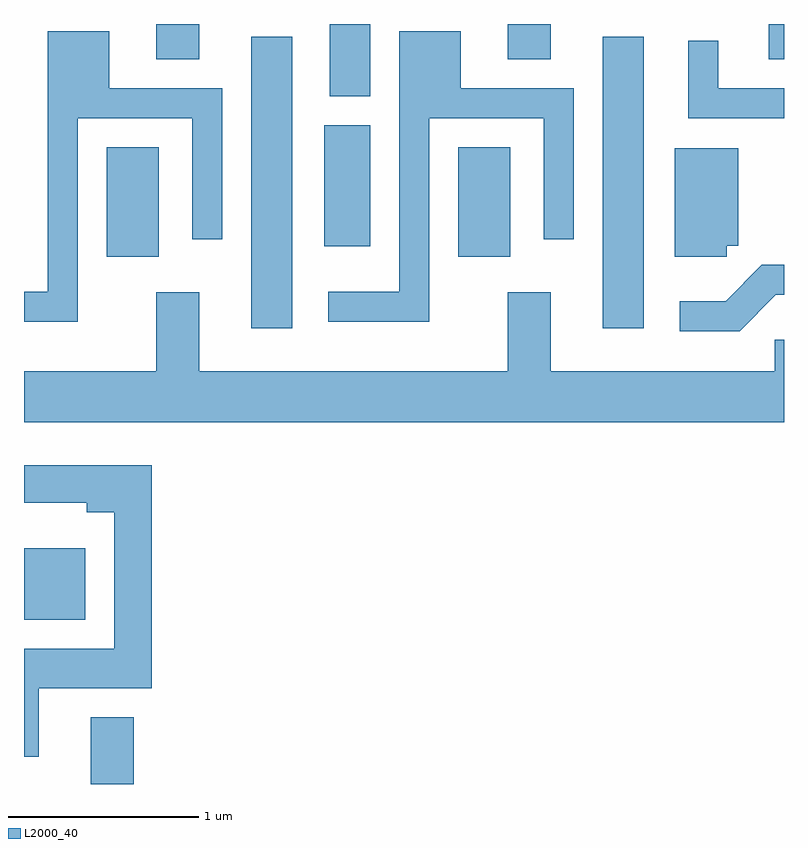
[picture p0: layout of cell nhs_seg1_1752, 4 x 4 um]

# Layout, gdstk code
import gdstk
lib = gdstk.Library(unit=1e-6, precision=1e-09)
def R(c, l, rs):  # rectangles x0, y0, x1, y1
    for r in rs: c.add(gdstk.rectangle(r[:2], r[2:], *l))
def P(c, l, *ps):  # polygons
    for p in ps: c.add(gdstk.Polygon(p, *l))
L2000_40 = (2000, 40)

nhs_seg1_1752 = lib.new_cell('nhs_seg1_1752')
R(nhs_seg1_1752, L2000_40, [(239.961,857.712,240.189,858.064), (239.611,858.576,239.934,858.954), (240.806,860.111,241.024,861.644), (242.656,860.111,242.874,861.644), (240.046,860.486,240.319,861.064), (241.896,860.486,242.169,861.064), (241.191,860.541,241.434,861.179), (241.221,861.331,241.434,861.712), (240.306,861.526,240.534,861.712), (242.156,861.526,242.384,861.712), (243.531,861.526,243.611,861.712)])
P(nhs_seg1_1752, L2000_40, [(241.744,861.216),(242.346,861.216),(242.346,860.578),(242.504,860.578),(242.504,861.374),(241.909,861.374),(241.909,861.674),(241.586,861.674),(241.586,860.304),(241.213,860.304),(241.213,860.146),(241.744,860.146)],
  [(239.894,861.216),(240.496,861.216),(240.496,860.578),(240.654,860.578),(240.654,861.374),(240.059,861.374),(240.059,861.674),(239.736,861.674),(239.736,860.304),(239.611,860.304),(239.611,860.146),(239.894,860.146)],
  [(243.611,861.374),(243.264,861.374),(243.264,861.623),(243.106,861.623),(243.106,861.216),(243.611,861.216)],
  [(243.309,860.546),(243.369,860.546),(243.369,861.059),(243.036,861.059),(243.036,860.486),(243.309,860.486)],
  [(243.567,860.286),(243.611,860.286),(243.611,860.444),(243.494,860.444),(243.304,860.254),(243.063,860.254),(243.063,860.096),(243.377,860.096)],
  [(243.611,860.049),(243.561,860.049),(243.561,859.884),(242.384,859.884),(242.384,860.299),(242.156,860.299),(242.156,859.884),(240.534,859.884),(240.534,860.299),(240.306,860.299),(240.306,859.884),(239.611,859.884),(239.611,859.616),(243.611,859.616)],
  [(239.689,858.216),(240.284,858.216),(240.284,859.389),(239.611,859.389),(239.611,859.191),(239.941,859.191),(239.941,859.141),(240.086,859.141),(240.086,858.424),(239.611,858.424),(239.611,857.856),(239.689,857.856)])

lib.write_gds('nhs_seg1_1752.gds')
